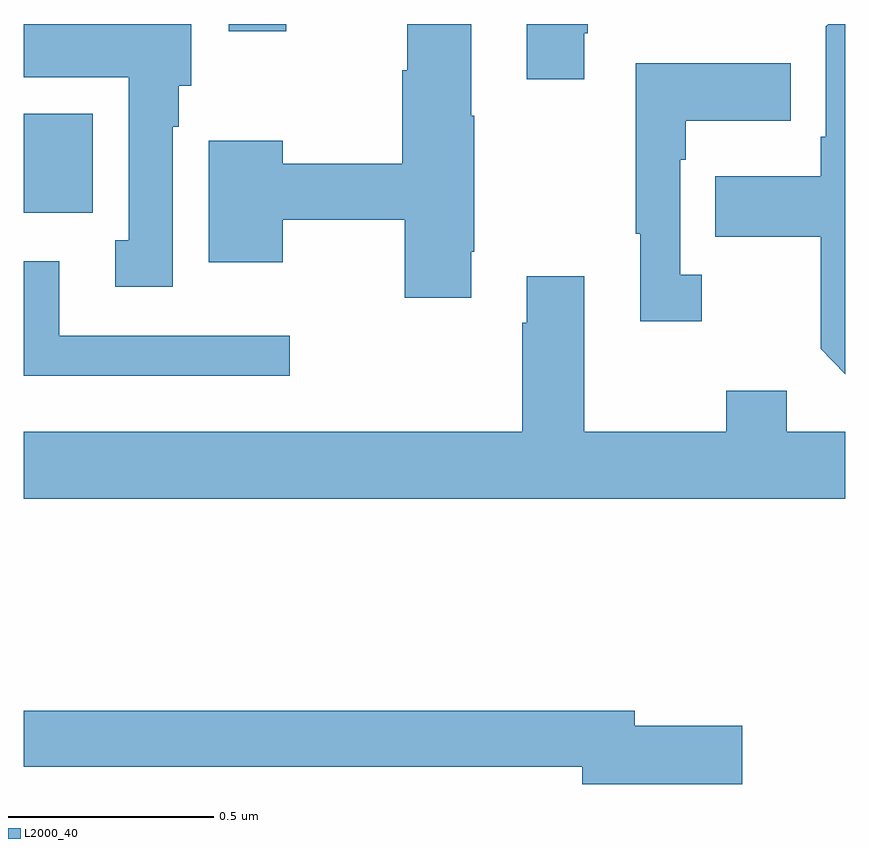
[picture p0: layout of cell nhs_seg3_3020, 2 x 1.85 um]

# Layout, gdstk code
import gdstk
lib = gdstk.Library(unit=1e-6, precision=1e-09)
def R(c, l, rs):  # rectangles x0, y0, x1, y1
    for r in rs: c.add(gdstk.rectangle(r[:2], r[2:], *l))
def P(c, l, *ps):  # polygons
    for p in ps: c.add(gdstk.Polygon(p, *l))
L2000_40 = (2000, 40)

nhs_seg3_3020 = lib.new_cell('nhs_seg3_3020')
R(nhs_seg3_3020, L2000_40, [(148,706.94,148.168,707.182), (148.499,707.382,148.639,707.4)])
P(nhs_seg3_3020, L2000_40, [(149.365,707.377),(149.373,707.377),(149.373,707.4),(149.225,707.4),(149.225,707.265),(149.365,707.265)],
  [(150,707.4),(149.958,707.4),(149.952,707.394),(149.952,707.125),(149.94,707.125),(149.94,707.029),(149.683,707.029),(149.683,706.882),(149.94,706.882),(149.94,706.609),(150,706.548)],
  [(149.089,706.846),(149.097,706.846),(149.097,707.177),(149.089,707.177),(149.089,707.4),(148.934,707.4),(148.934,707.288),(148.922,707.288),(148.922,707.06),(148.63,707.06),(148.63,707.116),(148.451,707.116),(148.451,706.82),(148.63,706.82),(148.63,706.924),(148.927,706.924),(148.927,706.734),(149.089,706.734)],
  [(148.363,707.15),(148.378,707.15),(148.378,707.25),(148.408,707.25),(148.408,707.4),(148,707.4),(148,707.27),(148.256,707.27),(148.256,706.874),(148.223,706.874),(148.223,706.761),(148.363,706.761)],
  [(149.65,706.79),(149.598,706.79),(149.598,707.069),(149.611,707.069),(149.611,707.165),(149.867,707.165),(149.867,707.305),(149.49,707.305),(149.49,706.889),(149.501,706.889),(149.501,706.677),(149.65,706.677)],
  [(148.648,706.641),(148.087,706.641),(148.087,706.822),(148,706.822),(148,706.544),(148.648,706.544)],
  [(150,706.408),(149.857,706.408),(149.857,706.507),(149.71,706.507),(149.71,706.408),(149.365,706.408),(149.365,706.786),(149.225,706.786),(149.225,706.673),(149.213,706.673),(149.213,706.408),(148,706.408),(148,706.244),(150,706.244)],
  [(149.749,705.692),(149.488,705.692),(149.488,705.728),(148,705.728),(148,705.592),(149.36,705.592),(149.36,705.55),(149.749,705.55)])

lib.write_gds('nhs_seg3_3020.gds')
